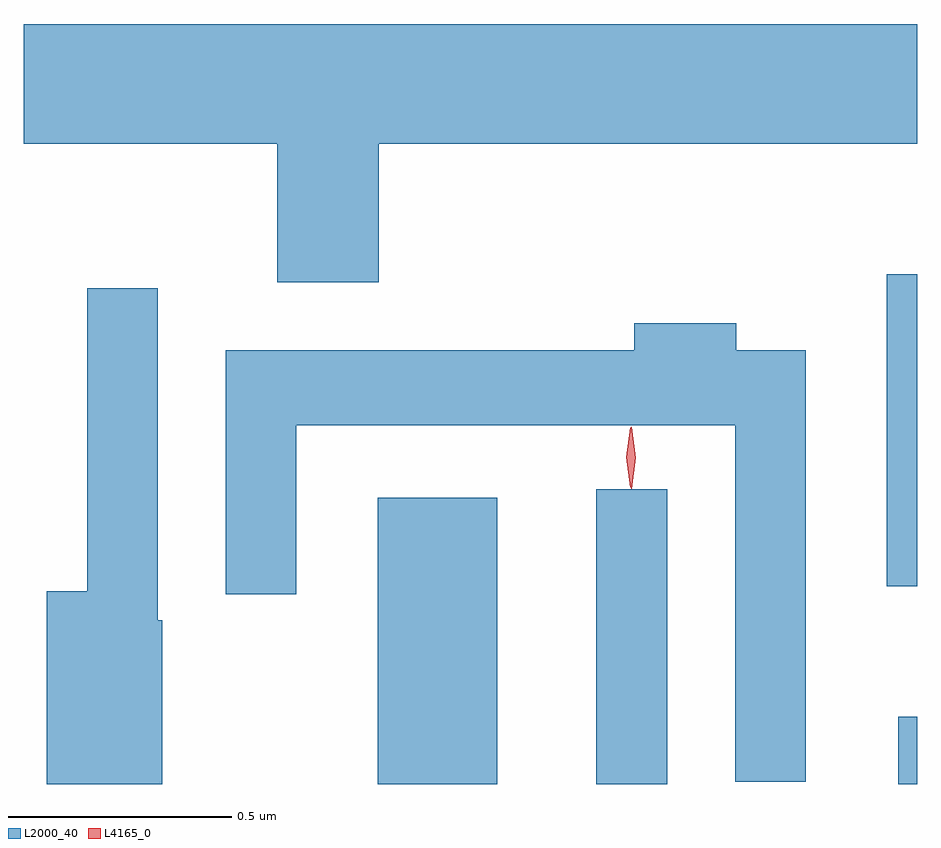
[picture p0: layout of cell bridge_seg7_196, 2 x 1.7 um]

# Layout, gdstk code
import gdstk
lib = gdstk.Library(unit=1e-6, precision=1e-09)
def R(c, l, rs):  # rectangles x0, y0, x1, y1
    for r in rs: c.add(gdstk.rectangle(r[:2], r[2:], *l))
def P(c, l, *ps):  # polygons
    for p in ps: c.add(gdstk.Polygon(p, *l))
L2000_40 = (2000, 40)
L4165_0 = (4165, 0)

bridge_seg7_196 = lib.new_cell('bridge_seg7_196')
R(bridge_seg7_196, L2000_40, [(1495.836,1715.103,1496.104,1715.744), (1496.326,1715.103,1496.484,1715.763), (1497.001,1715.103,1497.044,1715.254), (1496.976,1715.546,1497.044,1716.244)])
P(bridge_seg7_196, L2000_40, [(1495.839,1716.536),(1497.044,1716.536),(1497.044,1716.804),(1495.044,1716.804),(1495.044,1716.536),(1495.611,1716.536),(1495.611,1716.226),(1495.839,1716.226)],
  [(1495.354,1715.47),(1495.344,1715.47),(1495.344,1716.213),(1495.186,1716.213),(1495.186,1715.534),(1495.096,1715.534),(1495.096,1715.103),(1495.354,1715.103)],
  [(1496.794,1716.074),(1496.639,1716.074),(1496.639,1716.134),(1496.411,1716.134),(1496.411,1716.074),(1495.496,1716.074),(1495.496,1715.528),(1495.654,1715.528),(1495.654,1715.906),(1496.636,1715.906),(1496.636,1715.108),(1496.794,1715.108)])
P(bridge_seg7_196, L4165_0, [(1496.402,1715.767),(1496.393,1715.834),(1496.402,1715.9),(1496.403,1715.9),(1496.404,1715.9),(1496.413,1715.834),(1496.404,1715.767),(1496.403,1715.767)],
  [(1496.404,1715.764),(1496.404,1715.764),(1496.394,1715.833),(1496.404,1715.902),(1496.404,1715.903),(1496.405,1715.902),(1496.414,1715.833),(1496.405,1715.764)])

lib.write_gds('bridge_seg7_196.gds')
